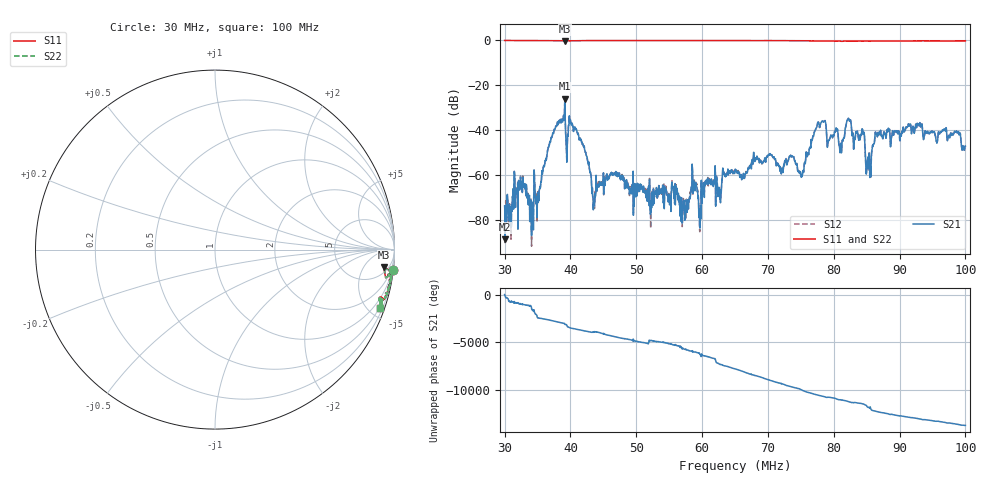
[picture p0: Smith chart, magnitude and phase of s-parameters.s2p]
!  23/08/2022  12:26:38 PM
! Ref Plane: 0.000 mm
# MHZ S MA R  50
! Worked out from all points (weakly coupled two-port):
!   2001 points, 30 MHz to 100 MHz, reference 50 ohm
!   highest |S21| = -25.85 dB at 39.17 MHz (marker M1); lowest = -88.4 dB at 30.07 MHz (marker M2)
!   lowest |S11| = -0.5 dB at 39.17 MHz (marker M3), VSWR 35.98, Z = 392 - j741 ohm
!   |S11| at or under -10 dB: nowhere
!   |S22| runs from -0.5 to 0.0 dB; largest |S21 - S12| = 0.00036
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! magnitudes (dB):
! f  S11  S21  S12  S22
! 30 MHz  0.0  -73.5  -75.2  0.0
! 30.07 MHz  0.0  -88.4  -89.9  0.0
! 32.73 MHz  -0.1  -63.9  -63.4  0.0
! 34.06 MHz  0.0  -83.4  -78.1  0.0
! 37.42 MHz  -0.1  -41.4  -41.3  -0.1
! 39.17 MHz  -0.5  -25.9  -25.8  -0.5
! 41.69 MHz  -0.1  -45.3  -45.2  -0.1
! 43.51 MHz  -0.1  -72.8  -73.7  -0.1
! 46.48 MHz  -0.1  -59.4  -59.2  -0.1
! 53.34 MHz  -0.1  -68.1  -67.7  -0.1
! 57.12 MHz  -0.1  -73.4  -71.6  -0.1
! 58.73 MHz  -0.1  -65.3  -65.1  -0.1
! 59.68 MHz  -0.1  -83.4  -79.3  -0.1
! 65 MHz  -0.1  -57.7  -57.7  -0.1
! 75.08 MHz  -0.1  -60.9  -60.6  -0.1
! 76.69 MHz  -0.2  -44.3  -44.3  -0.2
! 78.44 MHz  -0.3  -36.3  -36.3  -0.2
! 81.1 MHz  -0.4  -45.7  -45.7  -0.3
! 82.29 MHz  -0.3  -34.9  -34.9  -0.3
! 85.27 MHz  -0.3  -57.0  -57.6  -0.3
! 88.34 MHz  -0.3  -39.5  -39.5  -0.3
! 100 MHz  -0.2  -46.9  -46.9  -0.2
